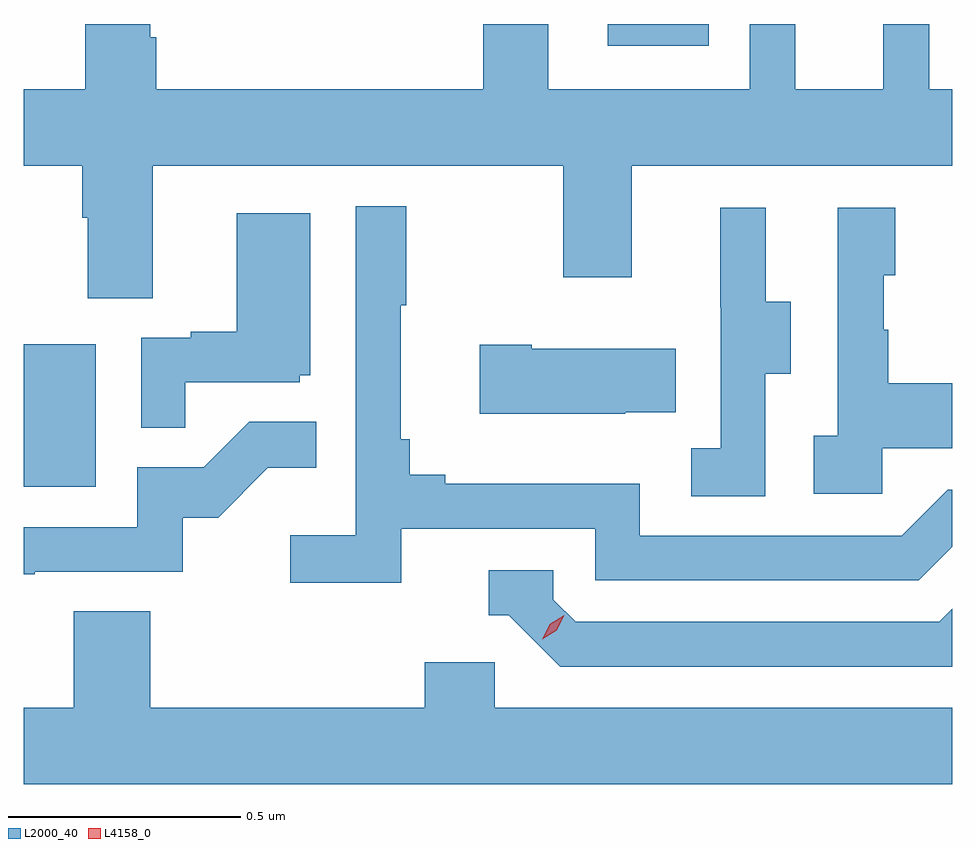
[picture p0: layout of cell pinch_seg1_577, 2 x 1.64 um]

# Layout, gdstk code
import gdstk
lib = gdstk.Library(unit=1e-6, precision=1e-09)
def R(c, l, rs):  # rectangles x0, y0, x1, y1
    for r in rs: c.add(gdstk.rectangle(r[:2], r[2:], *l))
def P(c, l, *ps):  # polygons
    for p in ps: c.add(gdstk.Polygon(p, *l))
L2000_40 = (2000, 40)
L4158_0 = (4158, 0)

pinch_seg1_577 = lib.new_cell('pinch_seg1_577')
R(pinch_seg1_577, L2000_40, [(1037.345,523.068,1037.5,523.375), (1038.603,524.018,1038.82,524.065)])
P(pinch_seg1_577, L2000_40, [(1037.477,523.924),(1037.345,523.924),(1037.345,523.76),(1037.471,523.76),(1037.471,523.648),(1037.483,523.648),(1037.483,523.474),(1037.623,523.474),(1037.623,523.76),(1038.507,523.76),(1038.507,523.52),(1038.655,523.52),(1038.655,523.76),(1039.345,523.76),(1039.345,523.924),(1039.295,523.924),(1039.295,524.065),(1039.196,524.065),(1039.196,523.924),(1039.007,523.924),(1039.007,524.065),(1038.909,524.065),(1038.909,523.924),(1038.475,523.924),(1038.475,524.065),(1038.335,524.065),(1038.335,523.924),(1037.63,523.924),(1037.63,524.036),(1037.617,524.036),(1037.617,524.065),(1037.477,524.065)],
  [(1038.158,522.978),(1038.576,522.978),(1038.576,522.867),(1039.273,522.867),(1039.345,522.939),(1039.345,523.062),(1039.335,523.062),(1039.236,522.963),(1038.672,522.963),(1038.672,523.075),(1038.253,523.075),(1038.253,523.094),(1038.176,523.094),(1038.176,523.171),(1038.157,523.171),(1038.157,523.459),(1038.169,523.459),(1038.169,523.672),(1038.06,523.672),(1038.06,522.964),(1037.919,522.964),(1037.919,522.862),(1038.158,522.862)],
  [(1039.194,523.151),(1039.345,523.151),(1039.345,523.291),(1039.207,523.291),(1039.207,523.406),(1039.197,523.406),(1039.197,523.524),(1039.222,523.524),(1039.222,523.669),(1039.098,523.669),(1039.098,523.178),(1039.047,523.178),(1039.047,523.053),(1039.194,523.053)],
  [(1038.942,523.312),(1038.997,523.312),(1038.997,523.467),(1038.943,523.467),(1038.943,523.669),(1038.845,523.669),(1038.845,523.455),(1038.846,523.455),(1038.846,523.151),(1038.783,523.151),(1038.783,523.048),(1038.942,523.048)],
  [(1037.693,523.293),(1037.94,523.293),(1037.94,523.308),(1037.962,523.308),(1037.962,523.657),(1037.804,523.657),(1037.804,523.402),(1037.705,523.402),(1037.705,523.389),(1037.598,523.389),(1037.598,523.195),(1037.693,523.195)],
  [(1038.641,523.229),(1038.749,523.229),(1038.749,523.366),(1038.439,523.366),(1038.439,523.374),(1038.327,523.374),(1038.327,523.226),(1038.641,523.226)],
  [(1037.369,522.885),(1037.688,522.885),(1037.688,523.002),(1037.764,523.002),(1037.871,523.109),(1037.975,523.109),(1037.975,523.208),(1037.831,523.208),(1037.733,523.11),(1037.589,523.11),(1037.589,522.981),(1037.345,522.981),(1037.345,522.88),(1037.369,522.88)],
  [(1039.345,522.805),(1039.317,522.777),(1038.534,522.777),(1038.486,522.825),(1038.486,522.888),(1038.347,522.888),(1038.347,522.792),(1038.39,522.792),(1038.501,522.681),(1039.345,522.681)],
  [(1039.345,522.592),(1038.36,522.592),(1038.36,522.69),(1038.209,522.69),(1038.209,522.592),(1037.618,522.592),(1037.618,522.8),(1037.453,522.8),(1037.453,522.592),(1037.345,522.592),(1037.345,522.428),(1039.345,522.428)])
P(pinch_seg1_577, L4158_0, [(1038.462,522.74),(1038.462,522.74),(1038.478,522.772),(1038.509,522.792),(1038.509,522.792),(1038.509,522.792),(1038.493,522.759),(1038.462,522.74)])

lib.write_gds('pinch_seg1_577.gds')
